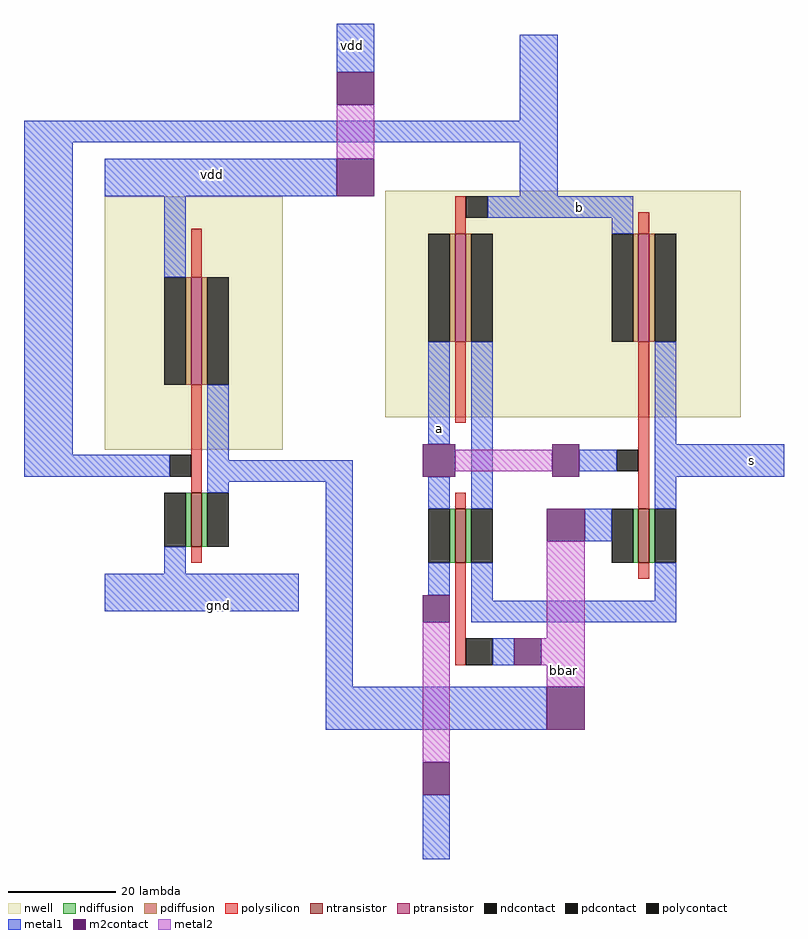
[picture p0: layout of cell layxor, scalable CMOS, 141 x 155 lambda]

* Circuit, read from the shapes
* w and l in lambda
.subckt layxor a b bbar gnd s vdd
M1 bbar b gnd VSUBS nfet w=10 l=2
M2 s bbar a VSUBS nfet w=10 l=2
M3 s a bbar VSUBS nfet w=10 l=2
M4 bbar b vdd n1 pfet w=20 l=2
M5 s b a n2 pfet w=20 l=2
M6 s a b n2 pfet w=20 l=2
.ends

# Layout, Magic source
magic
tech scmos
<< nwell >>
rect 276 32 342 74
<< ntransistor >>
rect 289 5 291 15
rect 323 5 325 15
<< ptransistor >>
rect 289 46 291 66
rect 323 46 325 66
<< ndiffusion >>
rect 288 5 289 15
rect 291 5 292 15
rect 322 5 323 15
rect 325 5 326 15
<< pdiffusion >>
rect 288 46 289 66
rect 291 46 292 66
rect 322 46 323 66
rect 325 46 326 66
<< ndcontact >>
rect 284 5 288 15
rect 292 5 296 15
rect 318 5 322 15
rect 326 5 330 15
<< pdcontact >>
rect 284 46 288 66
rect 292 46 296 66
rect 318 46 322 66
rect 326 46 330 66
<< polysilicon >>
rect 289 66 291 73
rect 323 66 325 70
rect 289 31 291 46
rect 289 15 291 18
rect 323 15 325 46
rect 289 -14 291 5
rect 323 2 325 5
<< polycontact >>
rect 291 69 295 73
rect 319 22 323 26
rect 291 -14 296 -9
<< metal1 >>
rect 267 96 274 105
rect 301 87 308 103
rect 209 83 308 87
rect 209 21 218 83
rect 257 73 267 80
rect 301 73 308 83
rect 295 69 322 73
rect 318 66 322 69
rect 284 27 288 46
rect 265 -18 270 20
rect 284 15 288 21
rect 284 -1 288 5
rect 292 15 296 46
rect 326 27 330 46
rect 312 22 319 26
rect 326 21 350 27
rect 326 15 330 21
rect 313 9 318 15
rect 292 -2 296 5
rect 326 -2 330 5
rect 292 -6 330 -2
rect 296 -14 300 -9
rect 265 -26 306 -18
rect 283 -50 288 -38
<< m2contact >>
rect 267 90 274 96
rect 267 73 274 80
rect 283 21 289 27
rect 283 -6 288 -1
rect 307 21 312 27
rect 306 9 313 15
rect 300 -14 305 -9
rect 306 -26 313 -18
rect 283 -38 288 -32
<< metal2 >>
rect 267 80 274 90
rect 289 22 307 26
rect 283 -32 288 -6
rect 306 -9 313 9
rect 305 -14 313 -9
rect 306 -18 313 -14
use inverterl  inverterl_1
transform 1 0 241 0 1 48
box -23 -52 29 32
<< labels >>
rlabel metal1 344 24 344 24 1 s
rlabel metal1 286 30 286 30 1 a
rlabel metal1 312 71 312 71 1 b
rlabel metal2 309 -15 309 -15 1 bbar
rlabel space 244 77 244 77 1 vdd
rlabel space 245 -3 245 -3 1 gnd
rlabel metal1 270 101 270 101 5 vdd
<< end >>

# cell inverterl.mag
magic
tech scmos
<< nwell >>
rect -17 -22 16 25
<< ntransistor >>
rect -1 -40 1 -30
<< ptransistor >>
rect -1 -10 1 10
<< ndiffusion >>
rect -2 -40 -1 -30
rect 1 -40 2 -30
<< pdiffusion >>
rect -2 -10 -1 10
rect 1 -10 2 10
<< ndcontact >>
rect -6 -40 -2 -30
rect 2 -40 6 -30
<< pdcontact >>
rect -6 -10 -2 10
rect 2 -10 6 10
<< polysilicon >>
rect -1 10 1 19
rect -1 -30 1 -10
rect -1 -43 1 -40
<< polycontact >>
rect -5 -27 -1 -23
<< metal1 >>
rect -17 25 16 32
rect -6 10 -2 25
rect -23 -27 -5 -23
rect 2 -24 6 -10
rect 2 -28 29 -24
rect 2 -30 6 -28
rect -6 -45 -2 -40
rect -17 -52 19 -45
<< labels >>
rlabel metal1 3 -49 3 -49 1 gnd
rlabel metal1 2 29 2 29 5 vdd
rlabel metal1 -15 -25 -15 -25 1 invi
rlabel metal1 21 -26 21 -26 1 invo
<< end >>
